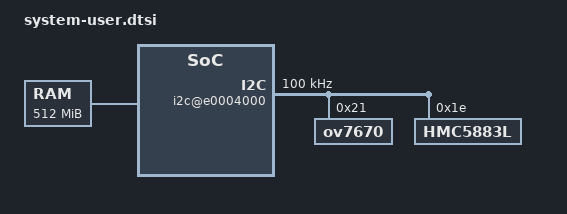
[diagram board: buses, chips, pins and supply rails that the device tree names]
/include/ "system-conf.dtsi"
/ {

	memory {
		device_type = "memory";
		reg = <0x0 0x20000000>;
	};

  	reserved-memory {
	      #address-cells = <1>;
	      #size-cells = <1>;
	      ranges;
	  
              reservedmemory0: reservedmemory0@0x01000000{
			no-map;
			reg = <0x01000000 0x800000>;
	      };
              reservedmemory1: reservedmemory0@0x02000000{
			no-map;
			reg = <0x02000000 0x800000>;
	      };
	};

	cpus {
		cpu@0 {
			operating-points = <666667 1000000 333334 1000000 166667 1000000 83334 1000000 41667 1000000>;
		};
	};
};

	&amba_pl {

		dma@44000000 {
			compatible = "vdma_control_driver";	
			reg = <0x44000000 0x10000>, <0x01000000 0x800000>;
			interrupts = <0 31 4>;
			memory-region = <&reservedmemory0>;
		};

		v_tpg@44c00000 {
			compatible = "xlnx,v-tpg-8.0";
			reg = <0x44C00000 0x10000>, <0x41210000 0x10000>;
			ports {
				address-cells = <1>;
				size-cells = <0>;

				port@00000000 {
					reg = <0>;
					xlnx,video-format = <2>;
					xlnx,video-width = <8>;

					tpg_in: endpoint {
						remote-endpoint = <&reservedmemory0>;
					};
				};
			};
		};

		timer@42800000 {
			compatible = "driver_pwm_EMIOgpio_PL_1";	
			reg = <0x42800000 0x10000>, <0x41200000 0x10000>;
			clock-frequency = <100000000>;
		};

		timer@42810000 {
			compatible = "driver_pwm_EMIOgpio_PL_2";	
			reg = <0x42810000 0x10000>, <0x41260000 0x10000>;
			clock-frequency = <100000000>;
		};

		gpio@41210000 {
			compatible = "driver_EMIOgpio_PL";	
			reg = <0x41210000 0x10000>;
		};

		gpio@41220000 {
			compatible = "driver_encoder_EMIOgpio_PL_1";	
			reg = <0x41220000 0x10000>;
			interrupts = <0 29 4>;
		};

		gpio@41230000 {
			compatible = "driver_encoder_EMIOgpio_PL_2";	
			reg = <0x41230000 0x10000>;
			interrupts = <0 30 4>;
		};

		gpio@41240000 {
			compatible = "driver_buttons_EMIOgpio_PL_1";	
			reg = <0x41240000 0x10000>;
			interrupts = <0 32 4>;
		};

		gpio@41250000 {
			compatible = "driver_leds_EMIOgpio_PL";	
			reg = <0x41250000 0x10000>;
		};
	};


	&amba {
		
		gpio@e000a000 {
			compatible = "driver_MIOgpio_PS";
			reg = <0xE000A000 0x1000>,<0xF8000000 0x1000>;
			interrupts = <0 20 4>;
		};


		i2c@e0004000 {
			status = "okay";
			clock-frequency = <100000>;
			
			i2c@0 {
				reg = <0>;
				ov7670@0x21 {
					compatible = "ov7670";
					reg = <0x21>;
				};
				HMC5883L@0x1E {
					compatible = "HMC5883L";
					reg = <0x1E>;
				};
			};
		};

	};	











